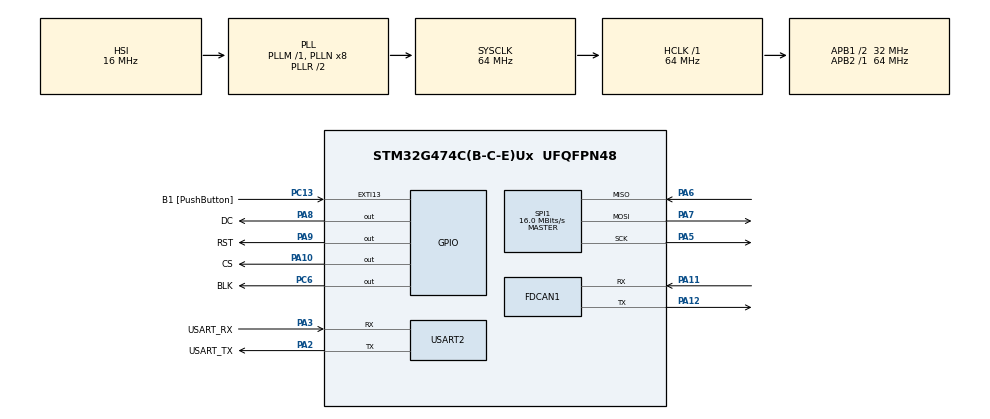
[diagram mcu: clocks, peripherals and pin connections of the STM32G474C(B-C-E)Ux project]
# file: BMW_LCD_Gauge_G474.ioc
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FDCAN1.AutoRetransmission=ENABLE
FDCAN1.CalculateBaudRateNominal=500000
FDCAN1.CalculateTimeBitNominal=2000
FDCAN1.CalculateTimeQuantumNominal=125.0
FDCAN1.DataSyncJumpWidth=4
FDCAN1.DataTimeSeg1=5
FDCAN1.DataTimeSeg2=4
FDCAN1.FrameFormat=FDCAN_FRAME_FD_BRS
FDCAN1.NominalPrescaler=4
FDCAN1.NominalSyncJumpWidth=16
FDCAN1.NominalTimeSeg1=13
FDCAN1.StdFiltersNbr=1
FDCAN1.TransmitPause=ENABLE
Mcu.Family=STM32G4
Mcu.Name=STM32G474C(B-C-E)Ux
Mcu.Package=UFQFPN48
NVIC.EXTI15_10_IRQn=true\:0\:0\:false\:false\:true\:true\:true\:true
NVIC.FDCAN1_IT0_IRQn=true\:0\:0\:false\:false\:true\:true\:true\:true
NVIC.PriorityGroup=NVIC_PRIORITYGROUP_4
NVIC.TIM2_IRQn=true\:0\:0\:false\:false\:true\:true\:true\:true
PA10.GPIO_Label=CS
PA10.PinState=GPIO_PIN_SET
PA10.Signal=GPIO_Output
PA11.GPIO_Speed=GPIO_SPEED_FREQ_VERY_HIGH
PA11.Mode=FDCAN_Activate
PA11.Signal=FDCAN1_RX
PA12.GPIO_Speed=GPIO_SPEED_FREQ_VERY_HIGH
PA12.Mode=FDCAN_Activate
PA12.Signal=FDCAN1_TX
PA13.GPIO_Label=TMS
PA13.Mode=Trace_Asynchronous_SW
PA13.Signal=SYS_JTMS-SWDIO
PA14.GPIO_Label=TCK
PA14.Mode=Trace_Asynchronous_SW
PA14.Signal=SYS_JTCK-SWCLK
PA2.GPIO_Label=USART_TX
PA2.Mode=Asynchronous
PA2.Signal=USART2_TX
PA3.GPIO_Label=USART_RX
PA3.GPIO_ModeDefaultPP=GPIO_MODE_AF_PP
PA3.GPIO_Speed=GPIO_SPEED_FREQ_VERY_HIGH
PA3.Mode=Asynchronous
PA3.Signal=USART2_RX
PA5.GPIO_Speed=GPIO_SPEED_FREQ_HIGH
PA5.Mode=Full_Duplex_Master
PA5.Signal=SPI1_SCK
PA6.GPIO_PuPd=GPIO_PULLDOWN
PA6.GPIO_Speed=GPIO_SPEED_FREQ_LOW
PA6.Mode=Full_Duplex_Master
PA6.Signal=SPI1_MISO
PA7.GPIO_Speed=GPIO_SPEED_FREQ_HIGH
PA7.Mode=Full_Duplex_Master
PA7.Signal=SPI1_MOSI
PA8.GPIO_Label=DC
PA8.GPIO_Speed=GPIO_SPEED_FREQ_LOW
PA8.PinState=GPIO_PIN_SET
PA8.Signal=GPIO_Output
PA9.GPIO_Label=RST
PA9.PinState=GPIO_PIN_SET
PA9.Signal=GPIO_Output
PB3.Mode=Trace_Asynchronous_SW
PB3.Signal=SYS_JTDO-SWO
PC13.GPIO_Label=B1 [PushButton]
PC13.Signal=GPXTI13
PC14-OSC32_IN.Mode=LSE-External-Oscillator
PC14-OSC32_IN.Signal=RCC_OSC32_IN
PC15-OSC32_OUT.Mode=LSE-External-Oscillator
PC15-OSC32_OUT.Signal=RCC_OSC32_OUT
PC6.GPIO_Label=BLK
PC6.PinState=GPIO_PIN_SET
PC6.Signal=GPIO_Output
PF0-OSC_IN.Mode=HSE-External-Clock-Source
PF0-OSC_IN.Signal=RCC_OSC_IN
ProjectManager.HeapSize=0x200
ProjectManager.StackSize=0x400
ProjectManager.TargetToolchain=STM32CubeIDE
RCC.ADC12Freq_Value=64000000
RCC.ADC345Freq_Value=64000000
RCC.AHBFreq_Value=64000000
RCC.APB1CLKDivider=RCC_HCLK_DIV2
RCC.APB1Freq_Value=32000000
RCC.APB1TimFreq_Value=64000000
RCC.APB2Freq_Value=64000000
RCC.APB2TimFreq_Value=64000000
RCC.CortexFreq_Value=64000000
RCC.EXTERNAL_CLOCK_VALUE=12288000
RCC.HCLKFreq_Value=64000000
RCC.HSE_VALUE=8000000
RCC.HSI48_VALUE=48000000
RCC.HSI_VALUE=16000000
RCC.SYSCLKFreq_VALUE=64000000
RCC.SYSCLKSource=RCC_SYSCLKSOURCE_PLLCLK
RCC.USBFreq_Value=64000000
RCC.VCOOutputFreq_Value=128000000
SPI1.BaudRatePrescaler=SPI_BAUDRATEPRESCALER_4
SPI1.CalculateBaudRate=16.0 MBits/s
SPI1.DataSize=SPI_DATASIZE_8BIT
SPI1.Direction=SPI_DIRECTION_2LINES
SPI1.Mode=SPI_MODE_MASTER
SPI1.VirtualType=VM_MASTER
TIM2.AutoReloadPreload=TIM_AUTORELOAD_PRELOAD_ENABLE
TIM2.PeriodNoDither=50000
TIM2.Prescaler=719
USART2.VirtualMode-Asynchronous=VM_ASYNC
VP_SYS_VS_DBSignals.Mode=DisableDeadBatterySignals
VP_TIM2_VS_ClockSourceINT.Mode=Internal
board=custom

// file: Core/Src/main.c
/* USER CODE BEGIN Header */
/**
  ******************************************************************************
  * @file           : main.c
  * @brief          : Main program body
  ******************************************************************************
  * @attention
  *
  * Copyright (c) 2025 STMicroelectronics.
  * All rights reserved.
  *
  * This software is licensed under terms that can be found in the LICENSE file
  * in the root directory of this software component.
  * If no LICENSE file comes with this software, it is provided AS-IS.
  *
  ******************************************************************************
  */
/* USER CODE END Header */
#include "main.h"

/* USER CODE BEGIN Includes */
#include "obd2.h"
#include <stdbool.h>
#include <stdio.h>
#include <string.h>
#include "global_vars.h"
#include "image.h"
#include "NV3030B.h"
#include <stdarg.h>
#include "display.h"
/* USER CODE END Includes */

FDCAN_HandleTypeDef hfdcan1;

SPI_HandleTypeDef hspi1;

TIM_HandleTypeDef htim2;

UART_HandleTypeDef huart2;

/* USER CODE BEGIN PV */

FDCAN_RxHeaderTypeDef RxHeader;
uint8_t RxData[8];

#define LOG_BUFFER_SIZE 128  // Размер буфера для логов

static char trans_str[TRANS_STR_SIZE] = {0,};
///переменная для запроса следующего параметра
volatile bool OBD2_NEED_NEXT_REQUEST = true;

//////массив цифр для дисплея
//const uint16_t* digits_num[] = {
//        digits_0,
//        digits_1,
//        digits_2,
//        digits_3,
//        digits_4,
//        digits_5,
//        digits_6,
//        digits_7,
//        digits_8,
//        digits_9,
//        digits_empty
//};
/* USER CODE END PV */

void SystemClock_Config(void);
static void MX_GPIO_Init(void);
static void MX_FDCAN1_Init(void);
static void MX_SPI1_Init(void);
static void MX_USART2_UART_Init(void);
static void MX_TIM2_Init(void);
/* USER CODE BEGIN PFP */
static void FDCAN_Config(void);
/* USER CODE END PFP */

/* USER CODE BEGIN 0 */
//////Инициализация дисплея
//void Display_Init(void) {
//    NV3030B_Init();
//    HAL_GPIO_WritePin(BLK_GPIO_Port, BLK_Pin, GPIO_PIN_SET);
//    NV3030B_FillScreen(NV3030B_BLACK);
//    NV3030B_DrawBitmap(7, 2, coolant_temp, 66, 48, NV3030B_AMBER);
//    NV3030B_DrawBitmap(0, 76, oil_temp, 79, 48, NV3030B_AMBER_DARK);
//    NV3030B_DrawBitmap(5, 146, gear_temp, 61, 51, NV3030B_AMBER);
//    NV3030B_DrawBitmap(7, 225, battery, 56, 38, NV3030B_AMBER_DARK);
//    NV3030B_DrawImage(190, 22, 43, 30, celsium);
//    NV3030B_DrawImage(190, 96, 43, 30, celsium);
//    NV3030B_DrawImage(190, 166, 43, 30, celsium);
//    NV3030B_DrawImage(205, 235, 28, 28, volt);
//}
/* USER CODE END 0 */

int main(void)
{

  /* MCU Configuration--------------------------------------------------------*/

  /* Reset of all peripherals, Initializes the Flash interface and the Systick. */
  HAL_Init();

  /* Configure the system clock */
  SystemClock_Config();

  /* Initialize all configured peripherals */
  MX_GPIO_Init();
  MX_FDCAN1_Init();
  MX_SPI1_Init();
  MX_USART2_UART_Init();
  MX_TIM2_Init();
  /* USER CODE BEGIN 2 */
  HAL_TIM_Base_Start_IT(&htim2);  // Включение прерываний
  FDCAN_Config();
  //// Процедура инициализации дисплея NV3030B
  Display_Init();
  /* USER CODE END 2 */

  /* Infinite loop */
  while (1)
  {

    /* USER CODE BEGIN 3 */
      if (OBD2_NEED_NEXT_REQUEST) {
          OBD2_NEED_NEXT_REQUEST = false;
          HAL_Delay(250);
          obd2_NextRequest();
      }
  }
  /* USER CODE END 3 */
}

void SystemClock_Config(void)
{
  RCC_OscInitTypeDef RCC_OscInitStruct = {0};
  RCC_ClkInitTypeDef RCC_ClkInitStruct = {0};

  /** Configure the main internal regulator output voltage
  */
  HAL_PWREx_ControlVoltageScaling(PWR_REGULATOR_VOLTAGE_SCALE1);

  /** Initializes the RCC Oscillators according to the specified parameters
  * in the RCC_OscInitTypeDef structure.
  */
  RCC_OscInitStruct.OscillatorType = RCC_OSCILLATORTYPE_HSI;
  RCC_OscInitStruct.HSIState = RCC_HSI_ON;
  RCC_OscInitStruct.HSICalibrationValue = RCC_HSICALIBRATION_DEFAULT;
  RCC_OscInitStruct.PLL.PLLState = RCC_PLL_ON;
  RCC_OscInitStruct.PLL.PLLSource = RCC_PLLSOURCE_HSI;
  RCC_OscInitStruct.PLL.PLLM = RCC_PLLM_DIV1;
  RCC_OscInitStruct.PLL.PLLN = 8;
  RCC_OscInitStruct.PLL.PLLP = RCC_PLLP_DIV2;
  RCC_OscInitStruct.PLL.PLLQ = RCC_PLLQ_DIV2;
  RCC_OscInitStruct.PLL.PLLR = RCC_PLLR_DIV2;
  if (HAL_RCC_OscConfig(&RCC_OscInitStruct) != HAL_OK)
  {
    Error_Handler();
  }

  /** Initializes the CPU, AHB and APB buses clocks
  */
  RCC_ClkInitStruct.ClockType = RCC_CLOCKTYPE_HCLK|RCC_CLOCKTYPE_SYSCLK
                              |RCC_CLOCKTYPE_PCLK1|RCC_CLOCKTYPE_PCLK2;
  RCC_ClkInitStruct.SYSCLKSource = RCC_SYSCLKSOURCE_PLLCLK;
  RCC_ClkInitStruct.AHBCLKDivider = RCC_SYSCLK_DIV1;
  RCC_ClkInitStruct.APB1CLKDivider = RCC_HCLK_DIV2;
  RCC_ClkInitStruct.APB2CLKDivider = RCC_HCLK_DIV1;

  if (HAL_RCC_ClockConfig(&RCC_ClkInitStruct, FLASH_LATENCY_2) != HAL_OK)
  {
    Error_Handler();
  }
}

static void MX_FDCAN1_Init(void)
{

  hfdcan1.Instance = FDCAN1;
  hfdcan1.Init.ClockDivider = FDCAN_CLOCK_DIV1;
  hfdcan1.Init.FrameFormat = FDCAN_FRAME_FD_BRS;
  hfdcan1.Init.Mode = FDCAN_MODE_NORMAL;
  hfdcan1.Init.AutoRetransmission = ENABLE;
  hfdcan1.Init.TransmitPause = ENABLE;
  hfdcan1.Init.ProtocolException = DISABLE;
  hfdcan1.Init.NominalPrescaler = 4;
  hfdcan1.Init.NominalSyncJumpWidth = 16;
  hfdcan1.Init.NominalTimeSeg1 = 13;
  hfdcan1.Init.NominalTimeSeg2 = 2;
  hfdcan1.Init.DataPrescaler = 1;
  hfdcan1.Init.DataSyncJumpWidth = 4;
  hfdcan1.Init.DataTimeSeg1 = 5;
  hfdcan1.Init.DataTimeSeg2 = 4;
  hfdcan1.Init.StdFiltersNbr = 1;
  hfdcan1.Init.ExtFiltersNbr = 0;
  hfdcan1.Init.TxFifoQueueMode = FDCAN_TX_FIFO_OPERATION;
  if (HAL_FDCAN_Init(&hfdcan1) != HAL_OK)
  {
    Error_Handler();
  }

}

static void MX_SPI1_Init(void)
{

  /* SPI1 parameter configuration*/
  hspi1.Instance = SPI1;
  hspi1.Init.Mode = SPI_MODE_MASTER;
  hspi1.Init.Direction = SPI_DIRECTION_2LINES;
  hspi1.Init.DataSize = SPI_DATASIZE_8BIT;
  hspi1.Init.CLKPolarity = SPI_POLARITY_LOW;
  hspi1.Init.CLKPhase = SPI_PHASE_1EDGE;
  hspi1.Init.NSS = SPI_NSS_SOFT;
  hspi1.Init.BaudRatePrescaler = SPI_BAUDRATEPRESCALER_4;
  hspi1.Init.FirstBit = SPI_FIRSTBIT_MSB;
  hspi1.Init.TIMode = SPI_TIMODE_DISABLE;
  hspi1.Init.CRCCalculation = SPI_CRCCALCULATION_DISABLE;
  hspi1.Init.CRCPolynomial = 7;
  hspi1.Init.CRCLength = SPI_CRC_LENGTH_DATASIZE;
  hspi1.Init.NSSPMode = SPI_NSS_PULSE_ENABLE;
  if (HAL_SPI_Init(&hspi1) != HAL_OK)
  {
    Error_Handler();
  }

}

static void MX_TIM2_Init(void)
{

  TIM_ClockConfigTypeDef sClockSourceConfig = {0};
  TIM_MasterConfigTypeDef sMasterConfig = {0};

  htim2.Instance = TIM2;
  htim2.Init.Prescaler = 719;
  htim2.Init.CounterMode = TIM_COUNTERMODE_UP;
  htim2.Init.Period = 50000;
  htim2.Init.ClockDivision = TIM_CLOCKDIVISION_DIV1;
  htim2.Init.AutoReloadPreload = TIM_AUTORELOAD_PRELOAD_ENABLE;
  if (HAL_TIM_Base_Init(&htim2) != HAL_OK)
  {
    Error_Handler();
  }
  sClockSourceConfig.ClockSource = TIM_CLOCKSOURCE_INTERNAL;
  if (HAL_TIM_ConfigClockSource(&htim2, &sClockSourceConfig) != HAL_OK)
  {
    Error_Handler();
  }
  sMasterConfig.MasterOutputTrigger = TIM_TRGO_RESET;
  sMasterConfig.MasterSlaveMode = TIM_MASTERSLAVEMODE_DISABLE;
  if (HAL_TIMEx_MasterConfigSynchronization(&htim2, &sMasterConfig) != HAL_OK)
  {
    Error_Handler();
  }
  /* USER CODE BEGIN TIM2_Init 2 */
    HAL_NVIC_SetPriority(TIM2_IRQn, 0, 0);
    HAL_NVIC_EnableIRQ(TIM2_IRQn);
  /* USER CODE END TIM2_Init 2 */

}

static void MX_USART2_UART_Init(void)
{

  huart2.Instance = USART2;
  huart2.Init.BaudRate = 115200;
  huart2.Init.WordLength = UART_WORDLENGTH_8B;
  huart2.Init.StopBits = UART_STOPBITS_1;
  huart2.Init.Parity = UART_PARITY_NONE;
  huart2.Init.Mode = UART_MODE_TX_RX;
  huart2.Init.HwFlowCtl = UART_HWCONTROL_NONE;
  huart2.Init.OverSampling = UART_OVERSAMPLING_16;
  huart2.Init.OneBitSampling = UART_ONE_BIT_SAMPLE_DISABLE;
  huart2.Init.ClockPrescaler = UART_PRESCALER_DIV1;
  huart2.AdvancedInit.AdvFeatureInit = UART_ADVFEATURE_NO_INIT;
  if (HAL_UART_Init(&huart2) != HAL_OK)
  {
    Error_Handler();
  }
  if (HAL_UARTEx_SetTxFifoThreshold(&huart2, UART_TXFIFO_THRESHOLD_1_8) != HAL_OK)
  {
    Error_Handler();
  }
  if (HAL_UARTEx_SetRxFifoThreshold(&huart2, UART_RXFIFO_THRESHOLD_1_8) != HAL_OK)
  {
    Error_Handler();
  }
  if (HAL_UARTEx_DisableFifoMode(&huart2) != HAL_OK)
  {
    Error_Handler();
  }

}

static void MX_GPIO_Init(void)
{
  GPIO_InitTypeDef GPIO_InitStruct = {0};

  /* GPIO Ports Clock Enable */
  __HAL_RCC_GPIOC_CLK_ENABLE();
  __HAL_RCC_GPIOF_CLK_ENABLE();
  __HAL_RCC_GPIOA_CLK_ENABLE();
  __HAL_RCC_GPIOB_CLK_ENABLE();

  /*Configure GPIO pin Output Level */
  HAL_GPIO_WritePin(BLK_GPIO_Port, BLK_Pin, GPIO_PIN_SET);

  /*Configure GPIO pin Output Level */
  HAL_GPIO_WritePin(GPIOA, DC_Pin|RST_Pin|CS_Pin, GPIO_PIN_SET);

  /*Configure GPIO pin : B1_Pin */
  GPIO_InitStruct.Pin = B1_Pin;
  GPIO_InitStruct.Mode = GPIO_MODE_IT_RISING;
  GPIO_InitStruct.Pull = GPIO_NOPULL;
  HAL_GPIO_Init(B1_GPIO_Port, &GPIO_InitStruct);

  /*Configure GPIO pin : BLK_Pin */
  GPIO_InitStruct.Pin = BLK_Pin;
  GPIO_InitStruct.Mode = GPIO_MODE_OUTPUT_PP;
  GPIO_InitStruct.Pull = GPIO_NOPULL;
  GPIO_InitStruct.Speed = GPIO_SPEED_FREQ_LOW;
  HAL_GPIO_Init(BLK_GPIO_Port, &GPIO_InitStruct);

  /*Configure GPIO pins : DC_Pin RST_Pin CS_Pin */
  GPIO_InitStruct.Pin = DC_Pin|RST_Pin|CS_Pin;
  GPIO_InitStruct.Mode = GPIO_MODE_OUTPUT_PP;
  GPIO_InitStruct.Pull = GPIO_NOPULL;
  GPIO_InitStruct.Speed = GPIO_SPEED_FREQ_LOW;
  HAL_GPIO_Init(GPIOA, &GPIO_InitStruct);

  /* EXTI interrupt init*/
  HAL_NVIC_SetPriority(EXTI15_10_IRQn, 0, 0);
  HAL_NVIC_EnableIRQ(EXTI15_10_IRQn);

}

/* USER CODE BEGIN 4 */
//#pragma GCC diagnostic push       // Сохраняем текущие настройки
//#pragma GCC diagnostic ignored "-Wunused-parameter" // Отключаем предупреждение
static void FDCAN_Config(void)
{
    FDCAN_FilterTypeDef sFilterConfig;

    /* Configure Rx filter */
    sFilterConfig.IdType = FDCAN_STANDARD_ID;
    sFilterConfig.FilterIndex = 0;
    sFilterConfig.FilterType = FDCAN_FILTER_MASK;
    sFilterConfig.FilterConfig = FDCAN_FILTER_TO_RXFIFO0;
    sFilterConfig.FilterID1 = 0x0000;
    sFilterConfig.FilterID2 = 0x0000;
    if (HAL_FDCAN_ConfigFilter(&hfdcan1, &sFilterConfig) != HAL_OK)
    {
        Error_Handler();
    }

    /* Configure global filter:
       Filter all remote frames with STD and EXT ID
       Reject non matching frames with STD ID and EXT ID */
    if (HAL_FDCAN_ConfigGlobalFilter(&hfdcan1, FDCAN_REJECT, FDCAN_REJECT, FDCAN_FILTER_REMOTE, FDCAN_FILTER_REMOTE) != HAL_OK)
    {
        Error_Handler();
    }

    /* Start the FDCAN module */
    if (HAL_FDCAN_Start(&hfdcan1) != HAL_OK)
    {
        Error_Handler();
    }

    if (HAL_FDCAN_ActivateNotification(&hfdcan1, FDCAN_IT_RX_FIFO0_NEW_MESSAGE, 0) != HAL_OK)
    {
        Error_Handler();
    }
}

/**
  * @brief  Rx FIFO 0 callback.
  * @param  hfdcan: pointer to an FDCAN_HandleTypeDef structure that contains
  *         the configuration information for the specified FDCAN.
  * @param  RxFifo0ITs: indicates which Rx FIFO 0 interrupts are signalled.
  *         This parameter can be any combination of @arg FDCAN_Rx_Fifo0_Interrupts.
  * @retval None
  */
void HAL_FDCAN_RxFifo0Callback(FDCAN_HandleTypeDef *hfdcan, uint32_t RxFifo0ITs)
{
    if((RxFifo0ITs & FDCAN_IT_RX_FIFO0_NEW_MESSAGE) != RESET)
    {
        /* Retrieve Rx messages from RX FIFO0 */
        if (HAL_FDCAN_GetRxMessage(hfdcan, FDCAN_RX_FIFO0, &RxHeader, RxData) == HAL_OK) {
            // Логируем принятый фрейм
            snprintf(trans_str, sizeof(trans_str), "%08lu CanRx: %lX [%ld] ", HAL_GetTick(), RxHeader.Identifier, RxHeader.DataLength);
            for (uint32_t i = 0; i < RxHeader.DataLength; i++) {
                char buffer[4];  // Временный буфер для каждого значения DLC
                snprintf(buffer, sizeof(buffer), "%02X", RxData[i]);  // Преобразуем значение в строку
                strcat(trans_str, buffer);  // Добавляем значение к основной строке
                if (i < 7) {  // Добавляем запятую между значениями, кроме последнего
                    strcat(trans_str, " ");
                }
            }
            strcat(trans_str, "\n");
            HAL_UART_Transmit(&huart2, (uint8_t *) trans_str, strlen(trans_str), 100);

            // Обработка сообщения в зависимости от ID
            if (RxHeader.Identifier == ENGINE_DATA_ID ||  RxHeader.Identifier == GEARBOX_DATA_ID)
                obd2_Handler(RxData);  // Вызываем обработчик данных OBD-II
            } else {
                // Неизвестное сообщение, логируем
                sprintf(trans_str, "Unknown ID: 0x%lX\n", RxHeader.Identifier);
                HAL_UART_Transmit(&huart2, (uint8_t*)trans_str, strlen(trans_str), HAL_MAX_DELAY);
            }
        } else {
            // Логируем ошибку приёма
            sprintf(trans_str, "CAN RX ERROR\n");
            HAL_UART_Transmit(&huart2, (uint8_t*)trans_str, strlen(trans_str), HAL_MAX_DELAY);
            HAL_FDCAN_ErrorCallback(hfdcan);
        }
    }

int _write(int file, char *ptr, int len)
{
    int DataIdx;

    for (DataIdx = 0; DataIdx < len; DataIdx++)
    {
      ITM_SendChar(*ptr++);
    }
    return len;
}

////колбек для ошибок
void HAL_FDCAN_ErrorCallback(FDCAN_HandleTypeDef *hfdcan) {
    uint32_t er = HAL_FDCAN_GetError(hfdcan);
    sprintf(trans_str, "ERROR CAN %lu %08lX", er, er);
    HAL_UART_Transmit(&huart2, (uint8_t *) trans_str, strlen(trans_str), 100);
}

/// Прерывание таймера каждые 0,5 секунды
void HAL_TIM_PeriodElapsedCallback(TIM_HandleTypeDef *htim) {
    //// Если нет ответа по CAN в течении 0.5 секунд, делаем следующий запрос
    if (obd2_getLastRequestTime() + TIMEOUT_MS < HAL_GetTick()) {
        OBD2_NEED_NEXT_REQUEST = true;
        //TODO Зажечь диод или распечатать сообщение на дисплее
        HAL_UART_Transmit(&huart2, (uint8_t *)"no response on time\n", 20, 100);
    }
}

/* USER CODE END 4 */

void Error_Handler(void)
{
  __disable_irq();
  while (1)
  {
  }
}
